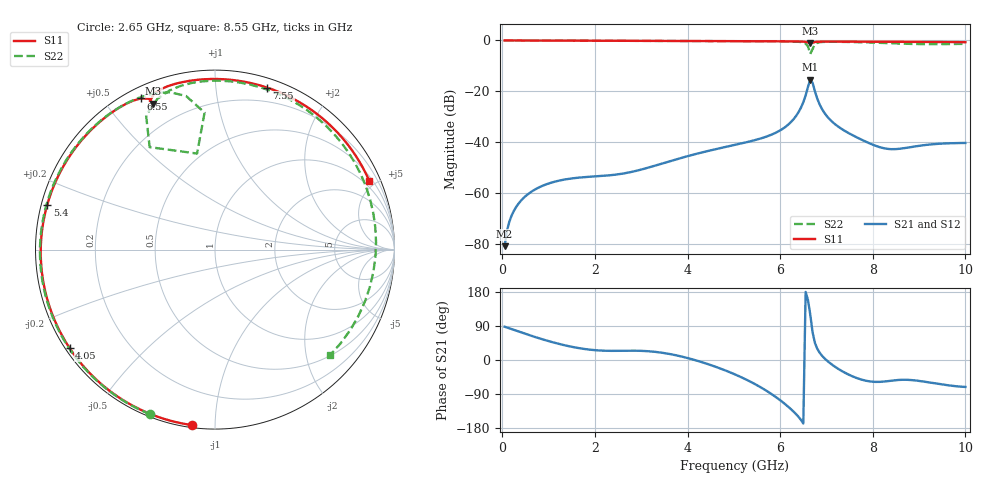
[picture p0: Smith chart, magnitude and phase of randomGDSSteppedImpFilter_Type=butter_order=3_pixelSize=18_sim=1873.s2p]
! freq	dB(S11)	phase(S11)	dB(S12)	phase(S12)
!  dB(S21)	phase(S21)	dB(S22)	phase(S22)
!S-par simulation data
#  GHz  S  DB  R 50
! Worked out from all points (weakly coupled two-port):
!   200 points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, 50 MHz to 10 GHz, reference 50 ohm
!   highest |S21| = -15.45 dB at 6.65 GHz (marker M1); lowest = -80.9 dB at 50 MHz (marker M2)
!   lowest |S11| = -1.1 dB at 6.65 GHz (marker M3), VSWR 15.98, Z = 4.5 + j32.9 ohm
!   |S11| at or under -10 dB: nowhere
!   |S22| runs from -5.3 to 0.0 dB; largest |S21 - S12| = 0
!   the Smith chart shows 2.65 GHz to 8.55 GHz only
!   S11 on the Smith chart (normalised r, x): 2.65 GHz: 0.01, -0.88; 4.05 GHz: 0.01, -0.31; 5.4 GHz: 0.02, +0.13; 6.55 GHz: 0.04, +0.62; 7.55 GHz: 0.08, +1.37; 8.55 GHz: 0.68, +4.58
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0.05  -0.00 -1.9  -80.87 87.8  -80.87 87.8  -0.00 -2.4
0.2  -0.01 -7.7  -68.90 81.5  -68.90 81.5  -0.01 -9.4
0.5  -0.02 -19.2  -61.24 68.9  -61.24 68.9  -0.02 -23.3
1.75  -0.08 -65.7  -53.77 29.5  -53.77 29.5  -0.09 -77.4
2.65  -0.12 -97.6  -52.19 24.4  -52.19 24.4  -0.12 -111.5
3.4  -0.16 -123.5  -48.66 20.0  -48.66 20.0  -0.15 -137.2
4.05  -0.19 -145.9  -45.25 3.6  -45.25 3.6  -0.18 -158.4
5.05  -0.26 178.4  -40.94 -39.4  -40.94 -39.4  -0.24 168.8
5.4  -0.29 165.1  -39.44 -59.9  -39.44 -59.9  -0.27 156.7
6.15  -0.36 134.8  -33.47 -120.8  -33.47 -120.8  -0.38 126.9
6.55  -0.55 116.2  -21.63 179.6  -21.63 179.6  -1.20 100.7
6.65  -1.09 113.0  -15.45 120.1  -15.45 120.1  -5.28 100.6
6.7  -0.89 113.7  -16.62 73.2  -16.62 73.2  -3.39 122.5
6.95  -0.44 101.1  -28.32 5.3  -28.32 5.3  -0.56 98.1
7.55  -0.46 72.2  -37.12 -42.5  -37.12 -42.5  -0.62 56.4
8  -0.49 50.4  -40.98 -57.4  -40.98 -57.4  -0.84 17.7
8.35  -0.51 33.6  -42.68 -55.3  -42.68 -55.3  -1.07 -19.2
8.55  -0.53 24.1  -42.64 -52.7  -42.64 -52.7  -1.21 -42.6
8.85  -0.55 10.2  -41.85 -53.1  -41.85 -53.1  -1.37 -78.9
9.1  -0.57 -1.0  -41.18 -56.9  -41.18 -56.9  -1.44 -108.3
9.55  -0.62 -20.3  -40.50 -65.5  -40.50 -65.5  -1.43 -154.8
10  -0.68 -38.1  -40.30 -71.2  -40.30 -71.2  -1.35 167.8
